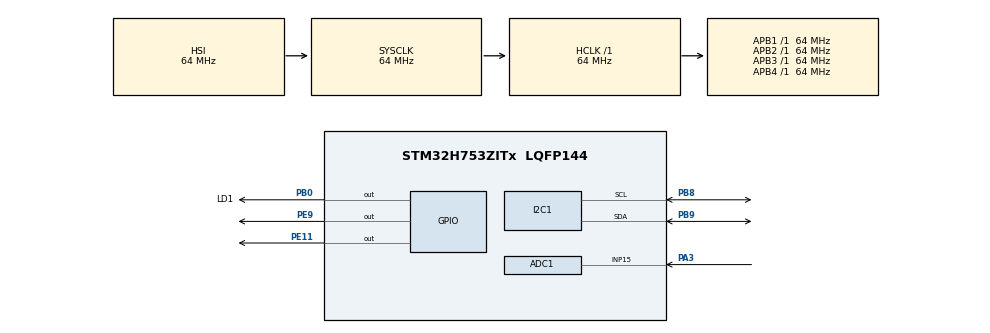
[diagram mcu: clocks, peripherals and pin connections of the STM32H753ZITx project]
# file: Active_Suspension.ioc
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ADC1.Channel-1\#ChannelRegularConversion=ADC_CHANNEL_15
ADC1.NbrOfConversionFlag=1
ADC1.OffsetNumber-1\#ChannelRegularConversion=ADC_OFFSET_NONE
ADC1.OffsetSignedSaturation-1\#ChannelRegularConversion=DISABLE
ADC1.Overrun=ADC_OVR_DATA_OVERWRITTEN
ADC1.Rank-1\#ChannelRegularConversion=1
ADC1.SamplingTime-1\#ChannelRegularConversion=ADC_SAMPLETIME_32CYCLES_5
ADC1.master=1
CORTEX_M7.default_mode_Activation=1
Mcu.Family=STM32H7
Mcu.Name=STM32H753ZITx
Mcu.Package=LQFP144
NVIC.PriorityGroup=NVIC_PRIORITYGROUP_4
PA3.Signal=ADCx_INP15
PB0.GPIO_Label=LD1
PB0.Signal=GPIO_Output
PB8.Mode=I2C
PB8.Signal=I2C1_SCL
PB9.Mode=I2C
PB9.Signal=I2C1_SDA
PE11.Signal=GPIO_Output
PE9.Signal=GPIO_Output
ProjectManager.HeapSize=0x200
ProjectManager.StackSize=0x400
ProjectManager.TargetToolchain=STM32CubeIDE
RCC.ADCFreq_Value=80000000
RCC.APB1Freq_Value=64000000
RCC.APB2Freq_Value=64000000
RCC.APB3Freq_Value=64000000
RCC.APB4Freq_Value=64000000
RCC.CortexFreq_Value=64000000
RCC.DIVM2=4
RCC.DIVN2=10
RCC.HCLKFreq_Value=64000000
RCC.PLL2FRACN=0
RCC.SYSCLKFreq_VALUE=64000000
RCC.USBFreq_Value=129000000
SH.ADCx_INP15.0=ADC1_INP15,IN15-Single-Ended
VP_MEMORYMAP_VS_MEMORYMAP.Mode=CurAppReg
board=custom

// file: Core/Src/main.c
/* USER CODE BEGIN Header */
/**
  ******************************************************************************
  * @file           : main.c
  * @brief          : Active Suspension - Closed-Loop Position Control
  ******************************************************************************
  */
/* USER CODE END Header */

#include "main.h"
#include <stdlib.h>

ADC_HandleTypeDef hadc1;
I2C_HandleTypeDef hi2c1;

/* USER CODE BEGIN PV */
/* Potentiometer & Position State */
uint32_t pot_raw_value = 0;
float displacement_voltage = 0.0f;

/* Target Equilibrium Setpoint (Calibrate to your neutral height) */
uint32_t target_setpoint = 32768; // Mid-scale (16-bit ADC: 0 to 65535)
int32_t position_error = 0;
int32_t deadband = 1200;          // Tolerance zone to prevent motor hunting

/* MPU6050 Registers and Variables */
#define MPU6050_ADDR         (0x68 << 1)
#define MPU6050_PWR_MGMT_1   0x6B
#define MPU6050_ACCEL_ZOUT_H 0x3F

int16_t accel_z_raw = 0;
float accel_z_g = 0.0f;
float vertical_dynamic_accel = 0.0f; // Deviation from 1.0g gravity
uint8_t mpu_status = 0;

/* Control Flags */
uint8_t closed_loop_active = 1;
/* USER CODE END PV */

/* Private function prototypes */
void SystemClock_Config(void);
static void MPU_Config(void);
static void MX_GPIO_Init(void);
static void MX_ADC1_Init(void);
static void MX_I2C1_Init(void);

void Motor_Stop(void);
void Motor_Extend(void);
void Motor_Retract(void);

/* USER CODE BEGIN 0 */
void Motor_Stop(void)
{
    HAL_GPIO_WritePin(GPIOE, GPIO_PIN_9, GPIO_PIN_RESET);
    HAL_GPIO_WritePin(GPIOE, GPIO_PIN_11, GPIO_PIN_RESET);
}

void Motor_Extend(void)
{
    HAL_GPIO_WritePin(GPIOE, GPIO_PIN_11, GPIO_PIN_RESET);
    HAL_GPIO_WritePin(GPIOE, GPIO_PIN_9, GPIO_PIN_SET);   // PE9 (D6 / RPWM)
}

void Motor_Retract(void)
{
    HAL_GPIO_WritePin(GPIOE, GPIO_PIN_9, GPIO_PIN_RESET);
    HAL_GPIO_WritePin(GPIOE, GPIO_PIN_11, GPIO_PIN_SET);  // PE11 (D5 / LPWM)
}
/* USER CODE END 0 */

int main(void)
{
   MPU_Config();
  HAL_Init();
  SystemClock_Config();

  MX_GPIO_Init();
  MX_ADC1_Init();
  MX_I2C1_Init();

  /* USER CODE BEGIN 2 */
  Motor_Stop();

  HAL_ADCEx_Calibration_Start(&hadc1, ADC_CALIB_OFFSET, ADC_SINGLE_ENDED);
  HAL_ADC_Start(&hadc1);

  uint8_t pwr_data = 0x00;
  if (HAL_I2C_Mem_Write(&hi2c1, MPU6050_ADDR, MPU6050_PWR_MGMT_1, I2C_MEMADD_SIZE_8BIT, &pwr_data, 1, 100) == HAL_OK)
  {
      mpu_status = 1;
  }
  else
  {
      mpu_status = 0;
  }

  // Safety startup pause: 2 seconds
  HAL_Delay(2000);

  // Take initial average reading to set the equilibrium target if desired
  uint32_t init_sum = 0;
  for (int i = 0; i < 16; i++)
  {
      HAL_ADC_Start(&hadc1);
      if (HAL_ADC_PollForConversion(&hadc1, 10) == HAL_OK)
      {
          init_sum += HAL_ADC_GetValue(&hadc1);
      }
      HAL_Delay(10);
  }
  target_setpoint = init_sum / 16; // Locks current rest position as target
  /* USER CODE END 2 */

  while (1)
  {
    /* USER CODE BEGIN 3 */
    // 1. Read Potentiometer
    HAL_ADC_Start(&hadc1);
    if (HAL_ADC_PollForConversion(&hadc1, 10) == HAL_OK)
    {
        pot_raw_value = HAL_ADC_GetValue(&hadc1);
        displacement_voltage = ((float)pot_raw_value * 3.3f) / 65535.0f;
    }

    // 2. Read MPU6050 Acceleration
    if (mpu_status == 1)
    {
        uint8_t accel_buf[2];
        if (HAL_I2C_Mem_Read(&hi2c1, MPU6050_ADDR, MPU6050_ACCEL_ZOUT_H, I2C_MEMADD_SIZE_8BIT, accel_buf, 2, 50) == HAL_OK)
        {
            accel_z_raw = (int16_t)((accel_buf[0] << 8) | accel_buf[1]);
            accel_z_g = (float)accel_z_raw / 16384.0f;
            vertical_dynamic_accel = accel_z_g - 1.0f; // Subtract static 1g
        }
    }

    // 3. Closed-Loop Position Control
    if (closed_loop_active)
    {
        position_error = (int32_t)target_setpoint - (int32_t)pot_raw_value;

        if (abs(position_error) > deadband)
        {
            if (position_error > 0)
            {
                // Displaced lower than target -> extend to restore ride height
                Motor_Extend();
            }
            else
            {
                // Displaced higher than target -> retract to restore ride height
                Motor_Retract();
            }
        }
        else
        {
            // Inside deadband -> brake/hold position
            Motor_Stop();
        }
    }
    else
    {
        Motor_Stop();
    }

    // Toggle heartbeat LED
    HAL_GPIO_TogglePin(LD1_GPIO_Port, LD1_Pin);

    // Fast 20ms control loop (50 Hz update rate)
    HAL_Delay(20);
    /* USER CODE END 3 */
  }
}

void SystemClock_Config(void)
{
  RCC_OscInitTypeDef RCC_OscInitStruct = {0};
  RCC_ClkInitTypeDef RCC_ClkInitStruct = {0};

  HAL_PWREx_ConfigSupply(PWR_LDO_SUPPLY);
  __HAL_PWR_VOLTAGESCALING_CONFIG(PWR_REGULATOR_VOLTAGE_SCALE3);
  while(!__HAL_PWR_GET_FLAG(PWR_FLAG_VOSRDY)) {}

  __HAL_RCC_PLL_PLLSOURCE_CONFIG(RCC_PLLSOURCE_HSI);

  RCC_OscInitStruct.OscillatorType = RCC_OSCILLATORTYPE_HSI;
  RCC_OscInitStruct.HSIState = RCC_HSI_DIV1;
  RCC_OscInitStruct.HSICalibrationValue = RCC_HSICALIBRATION_DEFAULT;
  RCC_OscInitStruct.PLL.PLLState = RCC_PLL_NONE;
  if (HAL_RCC_OscConfig(&RCC_OscInitStruct) != HAL_OK)
  {
    Error_Handler();
  }

  RCC_ClkInitStruct.ClockType = RCC_CLOCKTYPE_HCLK|RCC_CLOCKTYPE_SYSCLK
                              |RCC_CLOCKTYPE_PCLK1|RCC_CLOCKTYPE_PCLK2
                              |RCC_CLOCKTYPE_D3PCLK1|RCC_CLOCKTYPE_D1PCLK1;
  RCC_ClkInitStruct.SYSCLKSource = RCC_SYSCLKSOURCE_HSI;
  RCC_ClkInitStruct.SYSCLKDivider = RCC_SYSCLK_DIV1;
  RCC_ClkInitStruct.AHBCLKDivider = RCC_HCLK_DIV1;
  RCC_ClkInitStruct.APB3CLKDivider = RCC_APB3_DIV1;
  RCC_ClkInitStruct.APB1CLKDivider = RCC_APB1_DIV1;
  RCC_ClkInitStruct.APB2CLKDivider = RCC_APB2_DIV1;
  RCC_ClkInitStruct.APB4CLKDivider = RCC_APB4_DIV1;

  if (HAL_RCC_ClockConfig(&RCC_ClkInitStruct, FLASH_LATENCY_1) != HAL_OK)
  {
    Error_Handler();
  }
}

static void MX_ADC1_Init(void)
{
  ADC_MultiModeTypeDef multimode = {0};
  ADC_ChannelConfTypeDef sConfig = {0};

  hadc1.Instance = ADC1;
  hadc1.Init.ClockPrescaler = ADC_CLOCK_ASYNC_DIV2;
  hadc1.Init.Resolution = ADC_RESOLUTION_16B;
  hadc1.Init.ScanConvMode = ADC_SCAN_DISABLE;
  hadc1.Init.EOCSelection = ADC_EOC_SINGLE_CONV;
  hadc1.Init.LowPowerAutoWait = DISABLE;
  hadc1.Init.ContinuousConvMode = DISABLE;
  hadc1.Init.NbrOfConversion = 1;
  hadc1.Init.DiscontinuousConvMode = DISABLE;
  hadc1.Init.ExternalTrigConv = ADC_SOFTWARE_START;
  hadc1.Init.ExternalTrigConvEdge = ADC_EXTERNALTRIGCONVEDGE_NONE;
  hadc1.Init.ConversionDataManagement = ADC_CONVERSIONDATA_DR;
  hadc1.Init.Overrun = ADC_OVR_DATA_OVERWRITTEN;
  hadc1.Init.LeftBitShift = ADC_LEFTBITSHIFT_NONE;
  hadc1.Init.OversamplingMode = DISABLE;
  hadc1.Init.Oversampling.Ratio = 1;
  if (HAL_ADC_Init(&hadc1) != HAL_OK)
  {
    Error_Handler();
  }

  multimode.Mode = ADC_MODE_INDEPENDENT;
  if (HAL_ADCEx_MultiModeConfigChannel(&hadc1, &multimode) != HAL_OK)
  {
    Error_Handler();
  }

  sConfig.Channel = ADC_CHANNEL_15;
  sConfig.Rank = ADC_REGULAR_RANK_1;
  sConfig.SamplingTime = ADC_SAMPLETIME_32CYCLES_5;
  sConfig.SingleDiff = ADC_SINGLE_ENDED;
  sConfig.OffsetNumber = ADC_OFFSET_NONE;
  sConfig.Offset = 0;
  sConfig.OffsetSignedSaturation = DISABLE;
  if (HAL_ADC_ConfigChannel(&hadc1, &sConfig) != HAL_OK)
  {
    Error_Handler();
  }
}

static void MX_I2C1_Init(void)
{
  hi2c1.Instance = I2C1;
  hi2c1.Init.Timing = 0x10707DBC;
  hi2c1.Init.OwnAddress1 = 0;
  hi2c1.Init.AddressingMode = I2C_ADDRESSINGMODE_7BIT;
  hi2c1.Init.DualAddressMode = I2C_DUALADDRESS_DISABLE;
  hi2c1.Init.OwnAddress2 = 0;
  hi2c1.Init.OwnAddress2Masks = I2C_OA2_NOMASK;
  hi2c1.Init.GeneralCallMode = I2C_GENERALCALL_DISABLE;
  hi2c1.Init.NoStretchMode = I2C_NOSTRETCH_DISABLE;
  if (HAL_I2C_Init(&hi2c1) != HAL_OK)
  {
    Error_Handler();
  }

  if (HAL_I2CEx_ConfigAnalogFilter(&hi2c1, I2C_ANALOGFILTER_ENABLE) != HAL_OK)
  {
    Error_Handler();
  }

  if (HAL_I2CEx_ConfigDigitalFilter(&hi2c1, 0) != HAL_OK)
  {
    Error_Handler();
  }
}

static void MX_GPIO_Init(void)
{
  GPIO_InitTypeDef GPIO_InitStruct = {0};

  __HAL_RCC_GPIOA_CLK_ENABLE();
  __HAL_RCC_GPIOB_CLK_ENABLE();
  __HAL_RCC_GPIOE_CLK_ENABLE();

  HAL_GPIO_WritePin(LD1_GPIO_Port, LD1_Pin, GPIO_PIN_RESET);
  HAL_GPIO_WritePin(GPIOE, GPIO_PIN_9|GPIO_PIN_11, GPIO_PIN_RESET);

  GPIO_InitStruct.Pin = LD1_Pin;
  GPIO_InitStruct.Mode = GPIO_MODE_OUTPUT_PP;
  GPIO_InitStruct.Pull = GPIO_NOPULL;
  GPIO_InitStruct.Speed = GPIO_SPEED_FREQ_LOW;
  HAL_GPIO_Init(LD1_GPIO_Port, &GPIO_InitStruct);

  GPIO_InitStruct.Pin = GPIO_PIN_9|GPIO_PIN_11;
  GPIO_InitStruct.Mode = GPIO_MODE_OUTPUT_PP;
  GPIO_InitStruct.Pull = GPIO_NOPULL;
  GPIO_InitStruct.Speed = GPIO_SPEED_FREQ_LOW;
  HAL_GPIO_Init(GPIOE, &GPIO_InitStruct);
}

void MPU_Config(void)
{
  MPU_Region_InitTypeDef MPU_InitStruct = {0};

  HAL_MPU_Disable();

  MPU_InitStruct.Enable = MPU_REGION_ENABLE;
  MPU_InitStruct.Number = MPU_REGION_NUMBER0;
  MPU_InitStruct.BaseAddress = 0x0;
  MPU_InitStruct.Size = MPU_REGION_SIZE_4GB;
  MPU_InitStruct.SubRegionDisable = 0x87;
  MPU_InitStruct.TypeExtField = MPU_TEX_LEVEL0;
  MPU_InitStruct.AccessPermission = MPU_REGION_NO_ACCESS;
  MPU_InitStruct.DisableExec = MPU_INSTRUCTION_ACCESS_DISABLE;
  MPU_InitStruct.IsShareable = MPU_ACCESS_SHAREABLE;
  MPU_InitStruct.IsCacheable = MPU_ACCESS_NOT_CACHEABLE;
  MPU_InitStruct.IsBufferable = MPU_ACCESS_NOT_BUFFERABLE;

  HAL_MPU_ConfigRegion(&MPU_InitStruct);
  HAL_MPU_Enable(MPU_PRIVILEGED_DEFAULT);
}

void Error_Handler(void)
{
  __disable_irq();
  while (1)
  {
  }
}
